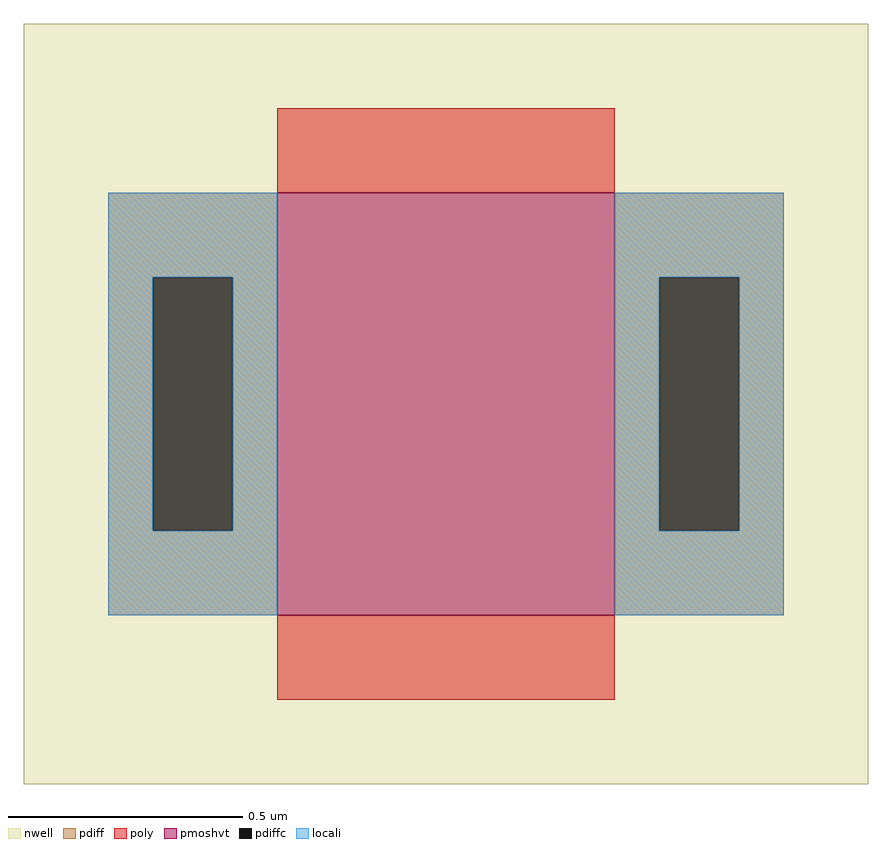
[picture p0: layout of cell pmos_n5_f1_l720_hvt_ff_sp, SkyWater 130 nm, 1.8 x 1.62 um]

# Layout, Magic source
magic
tech sky130A
magscale 1 2
<< nwell >>
rect -72 -72 288 252
<< pmoshvt >>
rect 36 0 180 180
<< pdiff >>
rect -36 144 36 180
rect -36 36 -17 144
rect 17 36 36 144
rect -36 0 36 36
rect 180 144 252 180
rect 180 36 199 144
rect 233 36 252 144
rect 180 0 252 36
<< pdiffc >>
rect -17 36 17 144
rect 199 36 233 144
<< poly >>
rect 36 180 180 216
rect 36 -36 180 0
<< locali >>
rect -36 144 36 180
rect -36 36 -17 144
rect 17 36 36 144
rect -36 0 36 36
rect 180 144 252 180
rect 180 36 199 144
rect 233 36 252 144
rect 180 0 252 36
<< end >>
